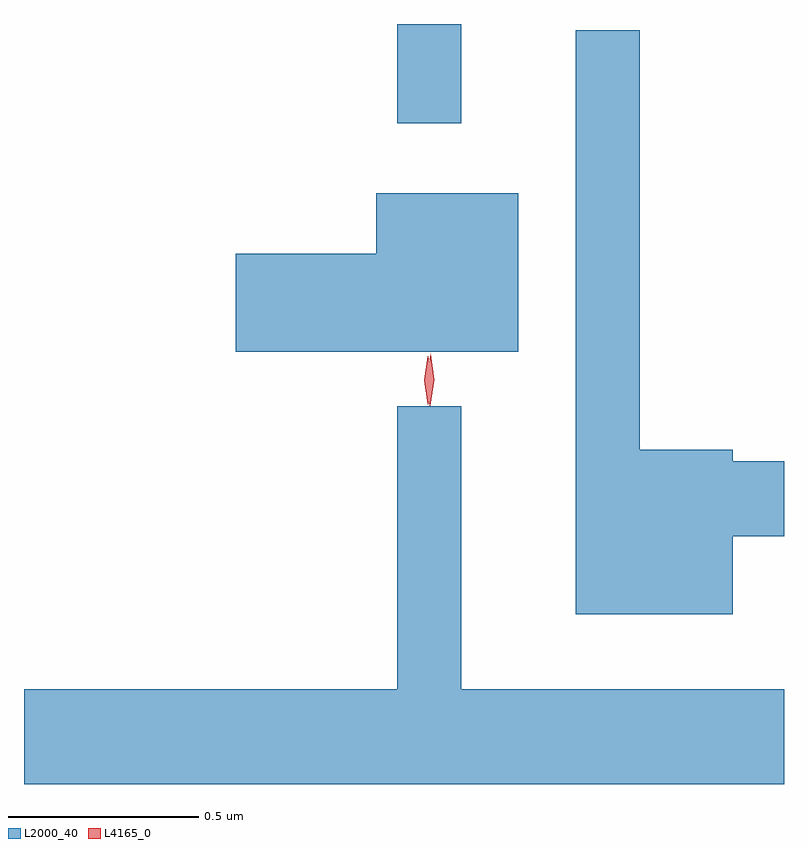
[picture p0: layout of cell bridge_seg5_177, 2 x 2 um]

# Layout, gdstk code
import gdstk
lib = gdstk.Library(unit=1e-6, precision=1e-09)
def R(c, l, rs):  # rectangles x0, y0, x1, y1
    for r in rs: c.add(gdstk.rectangle(r[:2], r[2:], *l))
def P(c, l, *ps):  # polygons
    for p in ps: c.add(gdstk.Polygon(p, *l))
L2000_40 = (2000, 40)
L4165_0 = (4165, 0)

bridge_seg5_177 = lib.new_cell('bridge_seg5_177')
R(bridge_seg5_177, L2000_40, [(1200.291,1449.673,1200.459,1449.934)])
P(bridge_seg5_177, L2000_40, [(1201.174,1448.586),(1201.309,1448.586),(1201.309,1448.784),(1201.174,1448.784),(1201.174,1448.814),(1200.929,1448.814),(1200.929,1449.918),(1200.761,1449.918),(1200.761,1448.381),(1201.174,1448.381)],
  [(1200.609,1449.489),(1200.236,1449.489),(1200.236,1449.329),(1199.866,1449.329),(1199.866,1449.071),(1200.609,1449.071)],
  [(1201.309,1448.184),(1200.459,1448.184),(1200.459,1448.928),(1200.291,1448.928),(1200.291,1448.184),(1199.309,1448.184),(1199.309,1447.934),(1201.309,1447.934)])
P(bridge_seg5_177, L4165_0, [(1200.377,1448.93),(1200.368,1448.998),(1200.379,1449.065),(1200.379,1449.066),(1200.38,1449.065),(1200.388,1448.998),(1200.378,1448.93),(1200.378,1448.93)],
  [(1200.372,1448.933),(1200.372,1448.934),(1200.362,1448.996),(1200.372,1449.06),(1200.372,1449.06),(1200.373,1449.06),(1200.382,1448.996),(1200.373,1448.934)])

lib.write_gds('bridge_seg5_177.gds')
